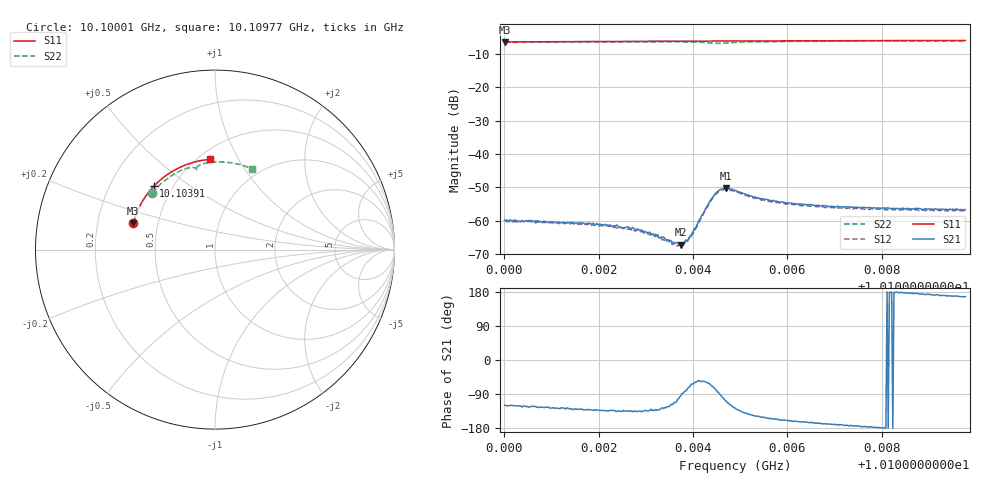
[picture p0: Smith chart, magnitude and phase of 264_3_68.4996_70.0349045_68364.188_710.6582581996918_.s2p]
#  HZ  S  RI  R  50.00
! Rohde & Schwarz Vector Network Analyzer
! Rohde-Schwarz,ZNB20-2Port,1311601062101988,3.16
! Created: UTC 3/20/2024, 5:00:23 PM
! freq[Hz]  re:S11  im:S11  re:S21  im:S21  re:S12  im:S12  re:S22  im:S22
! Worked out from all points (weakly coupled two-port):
!   401 points, 10.10001 GHz to 10.10977 GHz, reference 50 ohm
!   highest |S21| = -50.24 dB at 10.1047 GHz (marker M1); lowest = -67.2 dB at 10.10374 GHz (marker M2)
!   lowest |S11| = -6.4 dB at 10.10001 GHz (marker M3), VSWR 2.83, Z = 18 + j6.84 ohm
!   |S11| at or under -10 dB: nowhere
!   |S22| runs from -6.8 to -6.1 dB; largest |S21 - S12| = 0.0003
!   S11 on the Smith chart (normalised r, x): 10.10001 GHz: 0.36, +0.14; 10.10391 GHz: 0.39, +0.37; 10.10977 GHz: 0.57, +0.77
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1.0100011e10  -0.4556 0.1463  -0.000505 -0.000893  -0.000456 -0.000901  -0.3493 0.3161
1.0101646e10  -0.4205 0.2396  -0.000582 -0.0007  -0.000519 -0.000705  -0.2736 0.3898
1.0102207e10  -0.4042 0.2694  -0.000604 -0.000609  -0.000517 -0.000643  -0.2439 0.411
1.0102671e10  -0.389 0.2931  -0.000546 -0.000537  -0.000473 -0.000573  -0.2176 0.4267
1.0102866e10  -0.3822 0.3029  -0.0005 -0.000503  -0.000463 -0.000536  -0.2061 0.4327
1.0103281e10  -0.3671 0.3229  -0.000372 -0.000418  -0.000313 -0.00048  -0.1806 0.4446
1.0103378e10  -0.3634 0.3277  -0.000351 -0.000449  -0.0003 -0.000429  -0.1744 0.4471
1.0103622e10  -0.3537 0.339  -0.000172 -0.000417  -0.000117 -0.000422  -0.1581 0.4526
1.0103744e10  -0.349 0.3445  -3.6e-05 -0.000434  -4.04e-06 -0.000425  -0.1494 0.455
1.0103842e10  -0.3449 0.3489  7.66e-05 -0.000506  0.000106 -0.000487  -0.1424 0.4565
1.0103915e10  -0.3419 0.3522  0.000168 -0.000529  0.000223 -0.00049  -0.1369 0.4574
1.0104013e10  -0.3378 0.3564  0.000318 -0.000629  0.000379 -0.000534  -0.1293 0.4579
1.0104305e10  -0.3252 0.3689  0.000828 -0.00144  0.000907 -0.00132  -0.1078 0.453
1.0104427e10  -0.3198 0.3738  0.000739 -0.00217  0.000934 -0.00203  -0.1029 0.4471
1.0104549e10  -0.3144 0.3788  0.00013 -0.00285  0.000358 -0.0027  -0.1036 0.443
1.0104696e10  -0.3079 0.3848  -0.000945 -0.00293  -0.000664 -0.00285  -0.107 0.4466
1.0104891e10  -0.299 0.3925  -0.00171 -0.00227  -0.00146 -0.00228  -0.1021 0.4584
1.0105452e10  -0.272 0.4133  -0.00187 -0.00104  -0.00167 -0.00115  -0.066 0.478
1.0105989e10  -0.245 0.4313  -0.00174 -0.00066  -0.00161 -0.000766  -0.0296 0.4854
1.0106525e10  -0.217 0.4476  -0.00166 -0.000424  -0.00154 -0.000563  0.00588 0.4883
1.010816e10  -0.1253 0.4846  -0.00153 2.63e-05  -0.00146 -0.000163  0.1109 0.48
1.010977e10  -0.0297 0.5023  -0.00142 0.000312  -0.00141 0.000161  0.2088 0.4494
